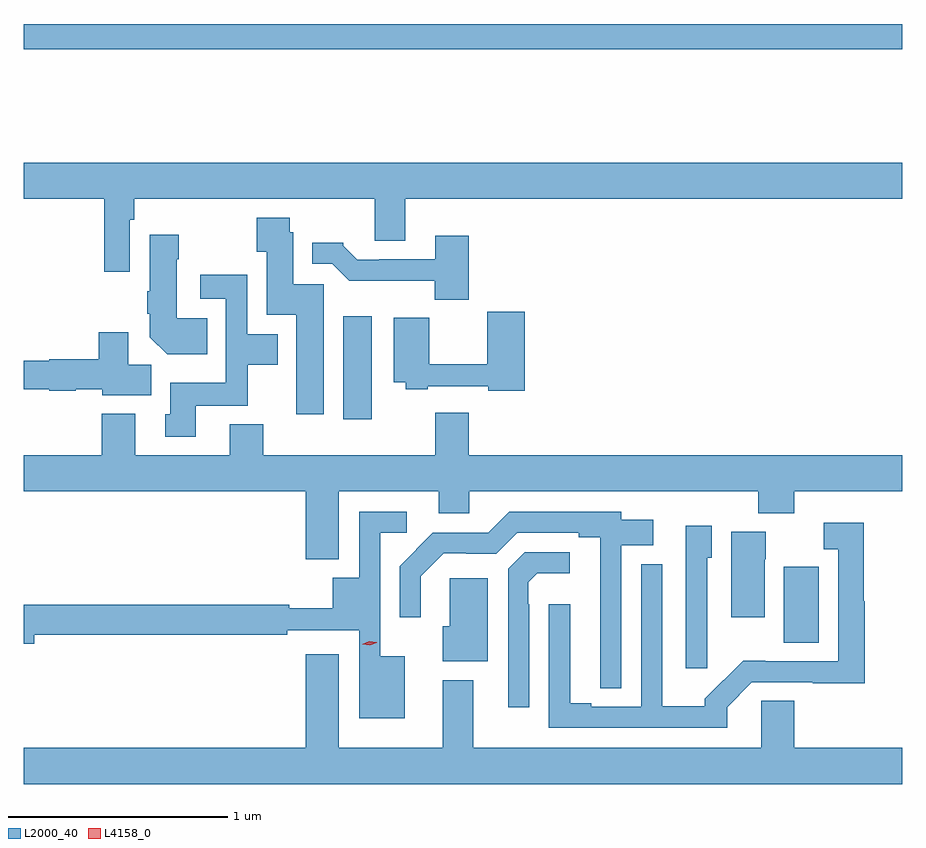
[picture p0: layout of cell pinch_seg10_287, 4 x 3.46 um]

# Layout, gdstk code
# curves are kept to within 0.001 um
import gdstk
lib = gdstk.Library(unit=1e-6, precision=1e-09)
def R(c, l, rs):  # rectangles x0, y0, x1, y1
    for r in rs: c.add(gdstk.rectangle(r[:2], r[2:], *l))
def P(c, l, *ps):  # polygons
    for p in ps: c.add(gdstk.Polygon(p, *l))
L2000_40 = (2000, 40)
L4158_0 = (4158, 0)

pinch_seg10_287 = lib.new_cell('pinch_seg10_287')
R(pinch_seg10_287, L2000_40, [(457.292,1314.28,457.45,1314.625), (455.285,1315.296,455.416,1315.765), (453.831,1316.98,457.831,1317.096)])
P(pinch_seg10_287, L2000_40, [(454.314,1316.204),(454.334,1316.204),(454.334,1316.3),(455.429,1316.3),(455.429,1316.11),(455.569,1316.11),(455.569,1316.3),(457.831,1316.3),(457.831,1316.464),(453.831,1316.464),(453.831,1316.3),(454.198,1316.3),(454.198,1315.968),(454.314,1315.968)],
  [(455.197,1315.911),(455.059,1315.911),(455.059,1316.148),(455.043,1316.148),(455.043,1316.215),(454.891,1316.215),(454.891,1316.059),(454.937,1316.059),(454.937,1315.772),(455.072,1315.772),(455.072,1315.32),(455.197,1315.32)],
  [(454.667,1315.756),(454.528,1315.756),(454.528,1316.024),(454.536,1316.024),(454.536,1316.137),(454.406,1316.137),(454.406,1315.88),(454.394,1315.88),(454.394,1315.777),(454.406,1315.777),(454.406,1315.67),(454.484,1315.592),(454.667,1315.592)],
  [(455.858,1316.131),(455.705,1316.131),(455.705,1316.025),(455.449,1316.025),(455.449,1316.022),(455.35,1316.022),(455.286,1316.086),(455.286,1316.101),(455.144,1316.101),(455.144,1316.004),(455.235,1316.004),(455.314,1315.926),(455.703,1315.926),(455.703,1315.841),(455.858,1315.841)],
  [(454.615,1315.358),(454.851,1315.358),(454.851,1315.544),(454.987,1315.544),(454.987,1315.684),(454.848,1315.684),(454.848,1315.954),(454.635,1315.954),(454.635,1315.845),(454.752,1315.845),(454.752,1315.462),(454.499,1315.462),(454.499,1315.32),(454.475,1315.32),(454.475,1315.218),(454.615,1315.218)],
  [(456.113,1315.786),(455.942,1315.786),(455.942,1315.547),(455.678,1315.547),(455.678,1315.759),(455.516,1315.759),(455.516,1315.466),(455.571,1315.466),(455.571,1315.434),(455.671,1315.434),(455.671,1315.446),(455.946,1315.446),(455.946,1315.426),(456.113,1315.426)],
  [(454.411,1315.544),(454.306,1315.544),(454.306,1315.693),(454.172,1315.693),(454.172,1315.57),(453.948,1315.57),(453.948,1315.562),(453.831,1315.562),(453.831,1315.434),(453.948,1315.434),(453.948,1315.426),(454.068,1315.426),(454.068,1315.433),(454.188,1315.433),(454.188,1315.406),(454.411,1315.406)],
  [(455.266,1314.968),(455.72,1314.968),(455.72,1314.869),(455.86,1314.869),(455.86,1314.968),(457.175,1314.968),(457.175,1314.869),(457.34,1314.869),(457.34,1314.968),(457.831,1314.968),(457.831,1315.132),(455.858,1315.132),(455.858,1315.327),(455.705,1315.327),(455.705,1315.132),(454.922,1315.132),(454.922,1315.273),(454.769,1315.273),(454.769,1315.132),(454.339,1315.132),(454.339,1315.321),(454.187,1315.321),(454.187,1315.132),(453.831,1315.132),(453.831,1314.968),(455.114,1314.968),(455.114,1314.659),(455.266,1314.659)],
  [(456.552,1314.722),(456.697,1314.722),(456.697,1314.838),(456.552,1314.838),(456.552,1314.876),(456.041,1314.876),(455.945,1314.78),(455.694,1314.78),(455.544,1314.628),(455.544,1314.396),(455.639,1314.396),(455.639,1314.581),(455.744,1314.686),(455.846,1314.686),(455.846,1314.684),(455.982,1314.684),(456.078,1314.78),(456.359,1314.78),(456.359,1314.76),(456.455,1314.76),(456.456,1314.073),(456.552,1314.073)],
  [(455.566,1314.217),(455.454,1314.217),(455.454,1314.78),(455.574,1314.78),(455.574,1314.876),(455.358,1314.876),(455.358,1314.574),(455.237,1314.574),(455.237,1314.435),(455.041,1314.435),(455.041,1314.452),(453.831,1314.452),(453.831,1314.274),(453.88,1314.274),(453.88,1314.316),(455.03,1314.316),(455.03,1314.336),(455.358,1314.336),(455.358,1313.936),(455.566,1313.936)],
  [(457.033,1313.986),(457.146,1314.099),(457.423,1314.099),(457.423,1314.094),(457.66,1314.094),(457.66,1314.468),(457.655,1314.468),(457.655,1314.826),(457.473,1314.826),(457.473,1314.705),(457.539,1314.705),(457.539,1314.195),(457.207,1314.195),(457.207,1314.197),(457.106,1314.197),(456.932,1314.023),(456.932,1313.989),(456.738,1313.989),(456.738,1314.637),(456.642,1314.637),(456.642,1313.988),(456.415,1313.988),(456.415,1314.003),(456.319,1314.003),(456.319,1314.454),(456.222,1314.454),(456.222,1313.892),(457.033,1313.892)],
  [(456.942,1314.666),(456.964,1314.666),(456.964,1314.811),(456.846,1314.811),(456.846,1314.162),(456.942,1314.162)],
  [(457.204,1314.66),(457.21,1314.66),(457.21,1314.784),(457.052,1314.784),(457.052,1314.396),(457.204,1314.396)],
  [(456.132,1314.455),(456.129,1314.455),(456.129,1314.555),(456.17,1314.596),(456.316,1314.596),(456.316,1314.69),(456.111,1314.69),(456.036,1314.615),(456.036,1313.985),(456.132,1313.985)],
  [(455.944,1314.573),(455.771,1314.573),(455.771,1314.355),(455.738,1314.355),(455.738,1314.194),(455.944,1314.194)],
  [(457.831,1313.8),(457.34,1313.8),(457.34,1314.014),(457.188,1314.014),(457.188,1313.8),(455.878,1313.8),(455.878,1314.109),(455.738,1314.109),(455.738,1313.8),(455.266,1313.8),(455.266,1314.226),(455.114,1314.226),(455.114,1313.8),(453.831,1313.8),(453.831,1313.636),(457.831,1313.636)])
P(pinch_seg10_287, L4158_0, [(455.406,1314.267),(455.373,1314.272),(455.372,1314.273),(455.373,1314.273),(455.404,1314.287),(455.438,1314.281),(455.438,1314.281),(455.438,1314.28)])

lib.write_gds('pinch_seg10_287.gds')
